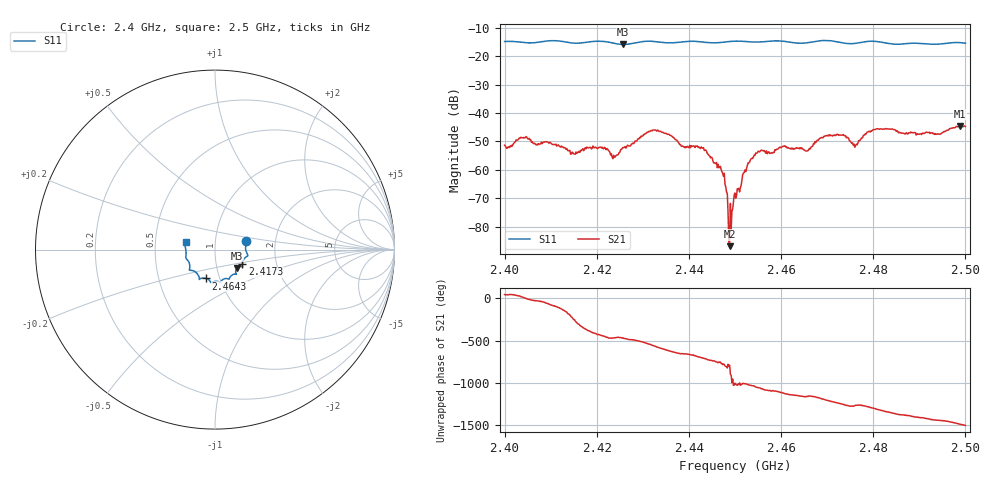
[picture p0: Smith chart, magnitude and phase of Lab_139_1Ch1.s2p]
# Hz S RI R 50
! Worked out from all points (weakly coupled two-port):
!   601 points, 2.4 GHz to 2.5 GHz, reference 50 ohm
!   highest |S21| = -44.58 dB at 2.4988 GHz (marker M1); lowest = -86.9 dB at 2.4488 GHz (marker M2)
!   lowest |S11| = -15.9 dB at 2.4257 GHz (marker M3), VSWR 1.38, Z = 62.5 - j13.1 ohm
!   |S11| at or under -10 dB: start of sweep to end of sweep
!   S12 and S22 are empty: the file has one direction only
!   S11 on the Smith chart (normalised r, x): 2.4 GHz: 1.41, +0.14; 2.4173 GHz: 1.34, -0.23; 2.4643 GHz: 0.86, -0.28; 2.5 GHz: 0.72, +0.06
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2.4e9  0.1737 0.0493  0.00193 0.0019  0 0  0 0
2.404333e9  0.1714 0.0213  0.00363 0.000262  0 0  0 0
2.416667e9  0.1531 -0.0747  0.00197 0.000937  0 0  0 0
2.417333e9  0.1522 -0.082  0.00229 -1.82e-05  0 0  0 0
2.423833e9  0.1385 -0.0943  -0.000498 -0.00159  0 0  0 0
2.425667e9  0.1229 -0.1024  -0.000722 -0.00235  0 0  0 0
2.433333e9  0.1127 -0.1368  -0.00375 0.00317  0 0  0 0
2.443667e9  0.0655 -0.1611  0.00223 0.000146  0 0  0 0
2.447167e9  0.0393 -0.1698  0.000536 -0.000759  0 0  0 0
2.448833e9  0.0325 -0.1775  1.5e-05 -4.28e-05  0 0  0 0
2.45e9  0.0292 -0.1809  9.93e-05 0.000378  0 0  0 0
2.452333e9  0.0212 -0.1789  0.000369 0.000851  0 0  0 0
2.454667e9  0.00474 -0.1762  0.00176 0.000846  0 0  0 0
2.464333e9  -0.0499 -0.1607  0.000381 -0.00232  0 0  0 0
2.466667e9  -0.0759 -0.1595  0.00039 -0.00253  0 0  0 0
2.472167e9  -0.0882 -0.155  -0.00392 -0.00157  0 0  0 0
2.476167e9  -0.1181 -0.119  -0.00267 0.000311  0 0  0 0
2.479e9  -0.1408 -0.115  -0.00423 0.00207  0 0  0 0
2.483333e9  -0.1404 -0.0898  -0.000157 0.00522  0 0  0 0
2.494167e9  -0.1624 4.92e-05  0.00425 -0.000335  0 0  0 0
2.498833e9  -0.1688 0.0358  0.00367 -0.00463  0 0  0 0
2.5e9  -0.1631 0.0422  0.0023 -0.00533  0 0  0 0
